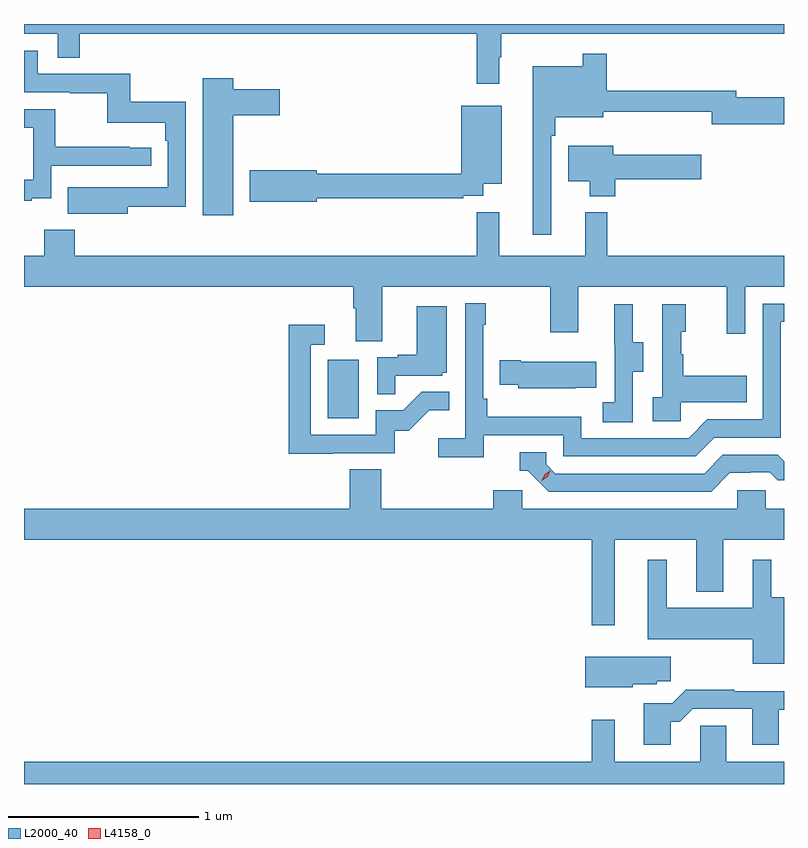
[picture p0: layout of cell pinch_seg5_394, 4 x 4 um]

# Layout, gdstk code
import gdstk
lib = gdstk.Library(unit=1e-6, precision=1e-09)
def R(c, l, rs):  # rectangles x0, y0, x1, y1
    for r in rs: c.add(gdstk.rectangle(r[:2], r[2:], *l))
def P(c, l, *ps):  # polygons
    for p in ps: c.add(gdstk.Polygon(p, *l))
L2000_40 = (2000, 40)
L4158_0 = (4158, 0)

pinch_seg5_394 = lib.new_cell('pinch_seg5_394')
R(pinch_seg5_394, L2000_40, [(963.854,872.052,964.018,872.359)])
P(pinch_seg5_394, L2000_40, [(964.756,873.953),(964.768,873.953),(964.768,874.076),(966.256,874.076),(966.256,874.127),(962.256,874.127),(962.256,874.076),(962.433,874.076),(962.433,873.949),(962.549,873.949),(962.549,874.076),(964.639,874.076),(964.639,873.813),(964.756,873.813)],
  [(962.803,873.166),(963.108,873.166),(963.108,873.718),(962.815,873.718),(962.815,873.864),(962.328,873.864),(962.328,873.987),(962.256,873.987),(962.256,873.768),(962.497,873.768),(962.497,873.763),(962.694,873.763),(962.694,873.608),(962.999,873.608),(962.999,873.512),(963.012,873.512),(963.012,873.267),(962.699,873.267),(962.699,873.268),(962.485,873.268),(962.485,873.128),(962.803,873.128)],
  [(965.031,873.539),(965.051,873.539),(965.051,873.635),(965.305,873.635),(965.305,873.664),(965.876,873.664),(965.876,873.599),(966.256,873.599),(966.256,873.741),(966.004,873.741),(966.004,873.775),(965.324,873.775),(965.324,873.97),(965.196,873.97),(965.196,873.904),(964.934,873.904),(964.934,873.018),(965.031,873.018)],
  [(963.358,873.646),(963.601,873.646),(963.601,873.783),(963.358,873.783),(963.358,873.841),(963.197,873.841),(963.197,873.12),(963.358,873.12)],
  [(963.796,873.21),(964.568,873.21),(964.568,873.222),(964.672,873.222),(964.672,873.287),(964.771,873.287),(964.771,873.697),(964.556,873.697),(964.556,873.338),(963.796,873.338),(963.796,873.357),(963.444,873.357),(963.444,873.191),(963.796,873.191)],
  [(962.297,873.209),(962.4,873.209),(962.4,873.381),(962.926,873.381),(962.926,873.477),(962.813,873.477),(962.813,873.482),(962.42,873.482),(962.42,873.678),(962.256,873.678),(962.256,873.582),(962.304,873.582),(962.304,873.306),(962.256,873.306),(962.256,873.198),(962.297,873.198)],
  [(965.369,873.31),(965.821,873.31),(965.821,873.439),(965.356,873.439),(965.356,873.487),(965.12,873.487),(965.12,873.299),(965.234,873.299),(965.234,873.221),(965.369,873.221)],
  [(964.141,872.744),(965.026,872.744),(965.026,872.505),(965.173,872.505),(965.173,872.744),(965.954,872.744),(965.954,872.496),(966.051,872.496),(966.051,872.744),(966.256,872.744),(966.256,872.908),(965.327,872.908),(965.327,873.136),(965.21,873.136),(965.21,872.908),(964.757,872.908),(964.757,873.137),(964.639,873.137),(964.639,872.908),(962.522,872.908),(962.522,873.043),(962.362,873.043),(962.362,872.908),(962.256,872.908),(962.256,872.744),(963.989,872.744),(963.989,872.632),(964.001,872.632),(964.001,872.458),(964.141,872.458)],
  [(964.676,871.962),(965.094,871.962),(965.094,871.851),(965.791,871.851),(965.89,871.95),(966.24,871.95),(966.24,872.559),(966.256,872.559),(966.256,872.655),(966.144,872.655),(966.144,872.046),(965.853,872.046),(965.754,871.947),(965.19,871.947),(965.19,872.059),(964.694,872.059),(964.694,872.155),(964.674,872.155),(964.674,872.543),(964.687,872.543),(964.687,872.656),(964.578,872.656),(964.578,871.948),(964.437,871.948),(964.437,871.846),(964.676,871.846)],
  [(965.46,872.296),(965.515,872.296),(965.515,872.451),(965.461,872.451),(965.461,872.653),(965.363,872.653),(965.363,872.439),(965.364,872.439),(965.364,872.135),(965.301,872.135),(965.301,872.032),(965.46,872.032)],
  [(965.712,872.135),(966.059,872.135),(966.059,872.275),(965.725,872.275),(965.725,872.39),(965.715,872.39),(965.715,872.508),(965.74,872.508),(965.74,872.653),(965.616,872.653),(965.616,872.162),(965.565,872.162),(965.565,872.037),(965.712,872.037)],
  [(964.211,872.277),(964.458,872.277),(964.458,872.292),(964.48,872.292),(964.48,872.641),(964.322,872.641),(964.322,872.386),(964.223,872.386),(964.223,872.373),(964.116,872.373),(964.116,872.179),(964.211,872.179)],
  [(963.887,871.869),(964.206,871.869),(964.206,871.986),(964.282,871.986),(964.389,872.093),(964.493,872.093),(964.493,872.192),(964.349,872.192),(964.251,872.094),(964.107,872.094),(964.107,871.965),(963.765,871.965),(963.765,872.439),(963.838,872.439),(963.838,872.545),(963.649,872.545),(963.649,871.864),(963.887,871.864)],
  [(965.159,872.213),(965.267,872.213),(965.267,872.35),(964.87,872.35),(964.87,872.358),(964.759,872.358),(964.759,872.228),(964.857,872.228),(964.857,872.21),(965.159,872.21)],
  [(965.971,871.764),(966.078,871.764),(966.078,871.767),(966.181,871.767),(966.223,871.725),(966.256,871.725),(966.256,871.827),(966.223,871.86),(965.934,871.86),(965.835,871.761),(965.052,871.761),(965.004,871.809),(965.004,871.872),(964.865,871.872),(964.865,871.776),(964.908,871.776),(965.019,871.665),(965.872,871.665)],
  [(965.365,871.412),(965.795,871.412),(965.795,871.139),(965.935,871.139),(965.935,871.412),(966.256,871.412),(966.256,871.576),(966.159,871.576),(966.159,871.674),(966.009,871.674),(966.009,871.576),(964.878,871.576),(964.878,871.674),(964.727,871.674),(964.727,871.576),(964.136,871.576),(964.136,871.784),(963.971,871.784),(963.971,871.576),(962.256,871.576),(962.256,871.412),(965.244,871.412),(965.244,870.963),(965.365,870.963)],
  [(966.256,871.111),(966.19,871.111),(966.19,871.306),(966.092,871.306),(966.092,871.054),(965.638,871.054),(965.638,871.306),(965.54,871.306),(965.54,870.89),(966.091,870.89),(966.091,870.759),(966.256,870.759)],
  [(965.46,870.653),(965.586,870.653),(965.586,870.667),(965.659,870.667),(965.659,870.796),(965.21,870.796),(965.21,870.635),(965.46,870.635)],
  [(965.659,870.455),(965.708,870.455),(965.775,870.522),(966.089,870.522),(966.089,870.333),(966.229,870.333),(966.229,870.519),(966.256,870.519),(966.256,870.616),(965.993,870.616),(965.993,870.623),(965.738,870.623),(965.667,870.552),(965.519,870.552),(965.519,870.333),(965.659,870.333)],
  [(965.814,870.434),(965.814,870.244),(965.365,870.244),(965.365,870.466),(965.244,870.466),(965.244,870.244),(962.256,870.244),(962.256,870.127),(966.256,870.127),(966.256,870.244),(965.953,870.244),(965.953,870.434)])
P(pinch_seg5_394, L4158_0, [(964.981,871.722),(964.981,871.723),(964.997,871.756),(965.027,871.776),(965.027,871.776),(965.027,871.776),(965.012,871.743),(964.981,871.722)])

lib.write_gds('pinch_seg5_394.gds')
